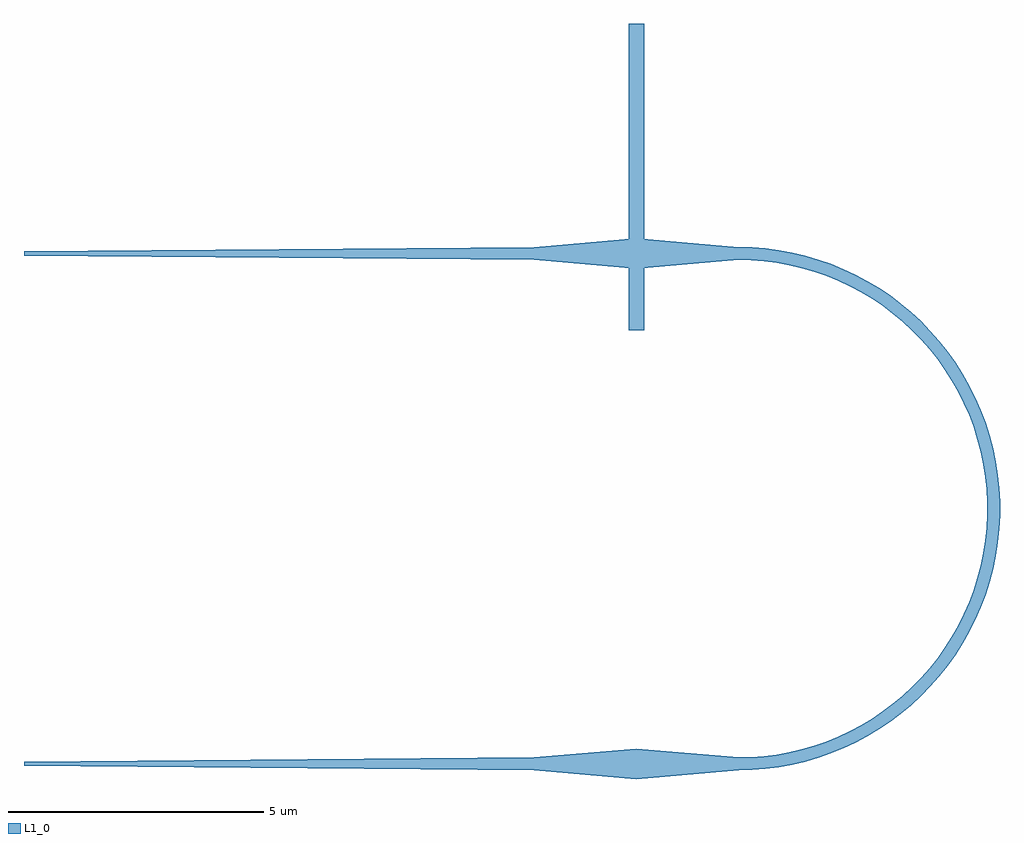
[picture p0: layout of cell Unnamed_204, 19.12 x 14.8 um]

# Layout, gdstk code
from math import pi, radians
import gdstk
lib = gdstk.Library(unit=1e-6, precision=1e-09)
def R(c, l, rs):  # rectangles x0, y0, x1, y1
    for r in rs: c.add(gdstk.rectangle(r[:2], r[2:], *l))
def P(c, l, *ps):  # polygons
    for p in ps: c.add(gdstk.Polygon(p, *l))
L1_0 = (1, 0)

taper_l10_w0p08_w0p25_p_ = lib.new_cell('taper_L10_W0p08_W0p25_P_fed8ac8b')
P(taper_l10_w0p08_w0p25_p_, L1_0, [(10,-0.125),(0,-0.04),(0,0.04),(10,0.125)])

taper_l2_w0p25_w0p6_pno_ = lib.new_cell('taper_L2_W0p25_W0p6_PNo_034558fb')
P(taper_l2_w0p25_w0p6_pno_, L1_0, [(2,-0.3),(0,-0.125),(0,0.125),(2,0.3)])

bend_circular_r5_a180_n_ = lib.new_cell('bend_circular_R5_A180_N_19e89e99')
P(bend_circular_r5_a180_n_, L1_0, [(0,-0.125),(0,0.125),(0.251,0.132),(0.501,0.151),(0.75,0.183),(0.997,0.228),(1.242,0.286),(1.483,0.356),(1.72,0.438),(1.952,0.533),(2.18,0.639),(2.401,0.757),(2.616,0.887),(2.825,1.027),(3.025,1.177),(3.218,1.338),(3.402,1.509),(3.578,1.689),(3.743,1.877),(3.899,2.074),(4.045,2.279),(4.179,2.49),(4.303,2.709),(4.415,2.933),(4.516,3.163),(4.604,3.398),(4.681,3.638),(4.745,3.88),(4.796,4.126),(4.835,4.374),(4.86,4.624),(4.873,4.874),(4.873,5.126),(4.86,5.376),(4.835,5.626),(4.796,5.874),(4.745,6.12),(4.681,6.362),(4.604,6.602),(4.516,6.837),(4.415,7.067),(4.303,7.291),(4.179,7.51),(4.045,7.721),(3.899,7.926),(3.743,8.123),(3.578,8.311),(3.402,8.491),(3.218,8.662),(3.025,8.823),(2.825,8.973),(2.616,9.113),(2.401,9.243),(2.18,9.361),(1.952,9.467),(1.72,9.562),(1.483,9.644),(1.242,9.714),(0.997,9.772),(0.75,9.817),(0.501,9.849),(0.251,9.868),(0,9.875),(0,10.125),(0.264,10.118),(0.527,10.098),(0.789,10.064),(1.048,10.017),(1.305,9.956),(1.559,9.882),(1.808,9.796),(2.052,9.696),(2.291,9.584),(2.524,9.46),(2.751,9.324),(2.97,9.177),(3.181,9.019),(3.383,8.85),(3.577,8.67),(3.761,8.481),(3.935,8.283),(4.099,8.076),(4.252,7.861),(4.394,7.638),(4.524,7.409),(4.642,7.173),(4.747,6.931),(4.841,6.684),(4.921,6.432),(4.988,6.177),(5.042,5.919),(5.083,5.658),(5.11,5.396),(5.123,5.132),(5.123,4.868),(5.11,4.604),(5.083,4.342),(5.042,4.081),(4.988,3.823),(4.921,3.568),(4.841,3.316),(4.747,3.069),(4.642,2.827),(4.524,2.591),(4.394,2.362),(4.252,2.139),(4.099,1.924),(3.935,1.717),(3.761,1.519),(3.577,1.33),(3.383,1.15),(3.181,0.981),(2.97,0.823),(2.751,0.676),(2.524,0.54),(2.291,0.416),(2.052,0.304),(1.808,0.204),(1.559,0.118),(1.305,0.044),(1.048,-0.017),(0.789,-0.064),(0.527,-0.098),(0.264,-0.118)])

straight_l0p3_n2_csstrip = lib.new_cell('straight_L0p3_N2_CSstrip_W6')
R(straight_l0p3_n2_csstrip, L1_0, [(0,-3,0.3,3)])

unnamed_204 = lib.new_cell('Unnamed_204')
unnamed_204.add(gdstk.Reference(taper_l10_w0p08_w0p25_p_, (0,144.5)))
unnamed_204.add(gdstk.Reference(taper_l10_w0p08_w0p25_p_, (0,134.5)))
unnamed_204.add(gdstk.Reference(taper_l2_w0p25_w0p6_pno_, (10,144.5)))
unnamed_204.add(gdstk.Reference(taper_l2_w0p25_w0p6_pno_, (10,134.5)))
unnamed_204.add(gdstk.Reference(taper_l2_w0p25_w0p6_pno_, (14,144.5), rotation=pi))
unnamed_204.add(gdstk.Reference(taper_l2_w0p25_w0p6_pno_, (14,134.5), rotation=pi))
unnamed_204.add(gdstk.Reference(bend_circular_r5_a180_n_, (14,134.5)))
unnamed_204.add(gdstk.Reference(straight_l0p3_n2_csstrip, (11.85,146)))

lib.write_gds('Unnamed_204.gds')
